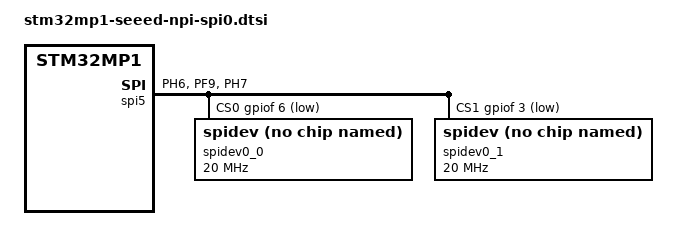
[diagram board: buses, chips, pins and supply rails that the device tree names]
// Peter Yang, 20191108
// Seeed 2Mic Voice Card (apa102)
/{
	aliases {
		spi0	= &spi5;	/* RPi compatible */
		spi1	= &spi2;
	};
};

&spi5 {
	pinctrl-names = "default", "sleep";
	pinctrl-0 = <&spi5_pins_s>;
	pinctrl-1 = <&spi5_sleep_pins_s>;
	cs-gpios = <&gpiof 6 GPIO_ACTIVE_LOW>, <&gpiof 3 GPIO_ACTIVE_LOW>;
	status = "okay";

	spidev0_0: spi0channel@0 {
		/* rohm,dh2228fv is a dummy to prevent warnning */
		compatible = "rohm,dh2228fv", "spidev";
		reg = <0>;
		spi-max-frequency = <20000000>;
	};

	spidev0_1: spi0channel@1 {
		compatible = "rohm,dh2228fv", "spidev";
		reg = <1>;
		spi-max-frequency = <20000000>;
	};

};

		&pinctrl {
			spi5_pins_s: spi5-1 {
				pins1 {
					pinmux = <STM32_PINMUX('H', 6, AF5)>, /* SPI5_SCK */
						 <STM32_PINMUX('F', 9, AF5)>; /* SPI5_MOSI */
						 /* <STM32_PINMUX('F', 6, GPIO)>, SPI5_NSS0 */
						 /* <STM32_PINMUX('F', 3, GPIO)>; SPI5_NSS1 */
					bias-disable;
					drive-push-pull;
					slew-rate = <1>;
				};

				pins2 {
					pinmux = <STM32_PINMUX('H', 7, AF5)>; /* SPI5_MISO */
					bias-disable;
				};
			};

			spi5_sleep_pins_s: spi5-sleep-1 {
				pins {
					pinmux = <STM32_PINMUX('H', 6, ANALOG)>, /* SPI5_SCK */
						 <STM32_PINMUX('H', 7, ANALOG)>, /* SPI5_MISO */
						 <STM32_PINMUX('F', 9, ANALOG)>; /* SPI5_MOSI */
						 /* <STM32_PINMUX('F', 6, ANALOG)>, SPI5_NSS0 */
						 /* <STM32_PINMUX('F', 3, ANALOG)>; SPI5_NSS1 */
				};
			};
		};

